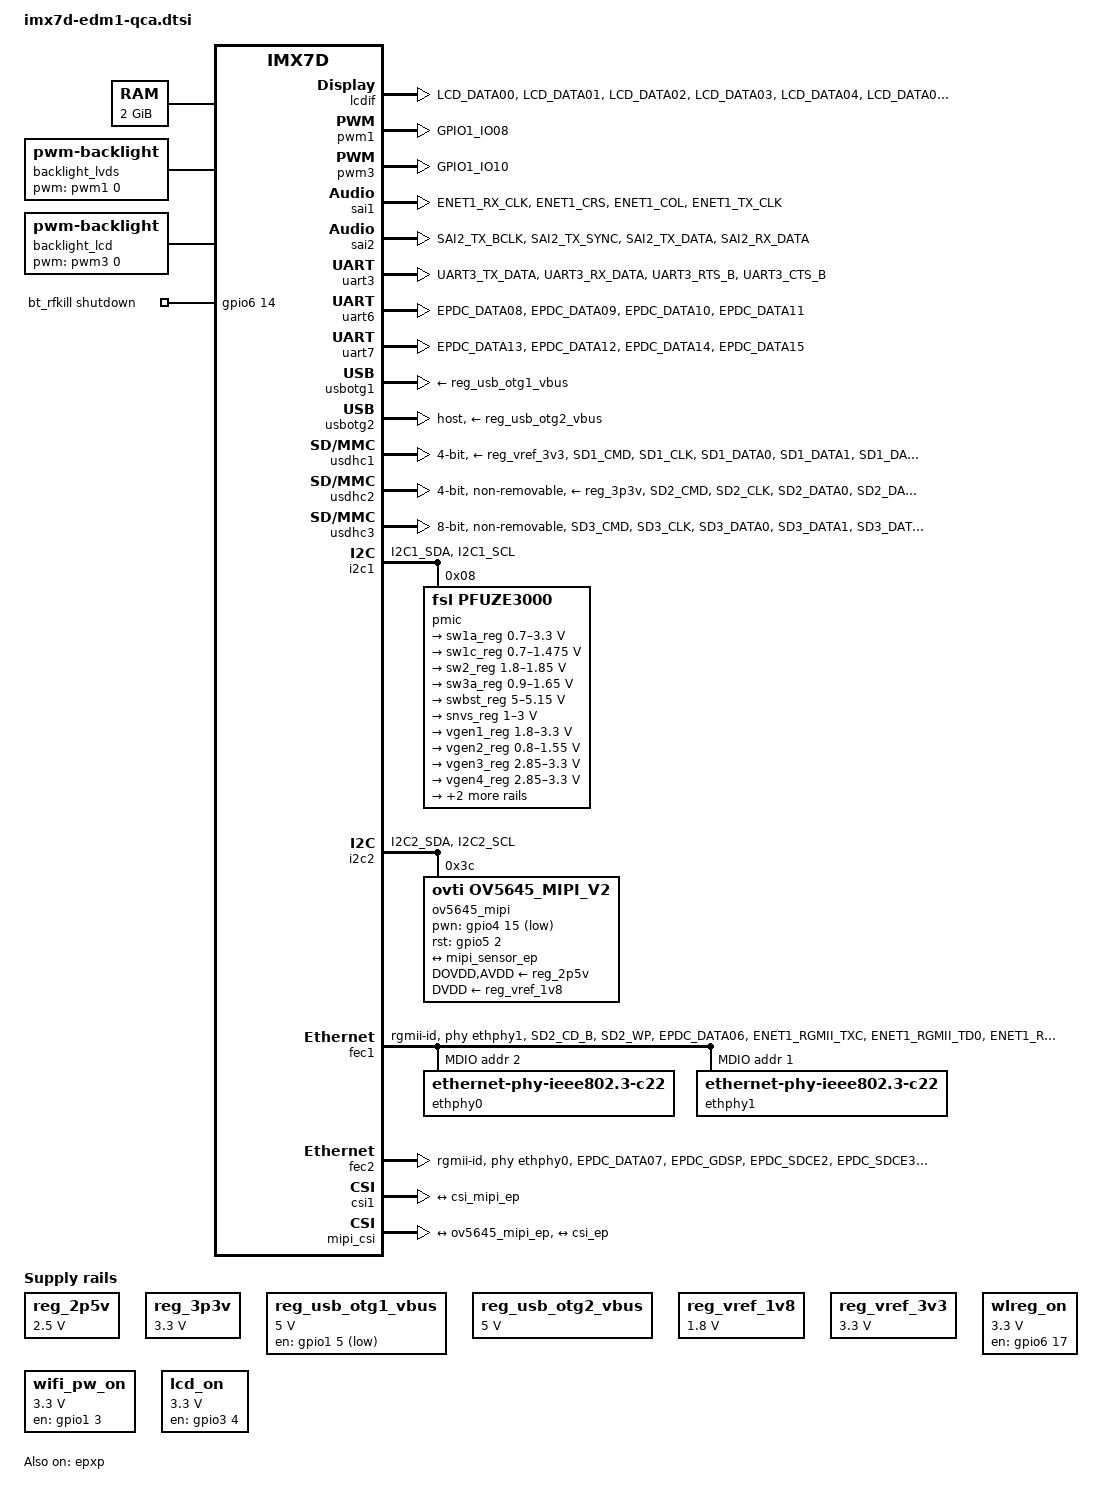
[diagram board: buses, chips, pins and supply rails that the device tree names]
/*
 * Copyright 2018 TechNexion Ltd.
 *
 * Author: Tapani Utriainen <tapani@technexion.com>
 *         Richard Hu <richard.hu@technexion.com>
 *         Ray Chang <ray.chang@technexion.com>
 *
 * This program is free software; you can redistribute it and/or modify
 * it under the terms of the GNU General Public License version 2 as
 * published by the Free Software Foundation.
 *
 */

#include <dt-bindings/input/input.h>
#include <dt-bindings/gpio/gpio.h>

/* External GPIO */
#define EDM_EXT_GPIO_P255 gpio2 30
#define EDM_EXT_GPIO_P256 gpio2 1
#define EDM_EXT_GPIO_P257 gpio2 2
#define EDM_EXT_GPIO_P258 gpio2 3
#define EDM_EXT_GPIO_P259 gpio2 4
#define EDM_EXT_GPIO_P260 gpio2 5
#define EDM_EXT_GPIO_P261 gpio4 0
#define EDM_EXT_GPIO_P262 gpio4 1
#define EDM_EXT_GPIO_P263 gpio1 11
#define EDM_EXT_GPIO_P264 gpio2 0

/* SAI */
#define EDM_AUDA_I2S_CHANNEL sai1
#define EDM_AUDA_CLK_SRC clks IMX7D_AUDIO_MCLK_ROOT_CLK

/* Bus definitions */
#define EDM_I2CA i2c1
#define EDM_I2CB i2c2
#define EDM_I2CC i2c3

#define EDM_SPIA ecspi2
#define EDM_SPIB ecspi1

#define EDM_CANA flexcan1
#define EDM_CANB flexcan2

#define EDM_PCIE pcie

#define EDM_GNOME_GPIO_DEFS()							\
&gpio1 {									\
	gpio-line-names =							\
		"", "", "", "", "", "", "", "",					\
		"", "", "", "GPIO_P263", "", "", "", "",			\
		"", "", "", "", "", "", "", "",					\
		"", "", "", "", "", "", "", "";					\
										\
	pinctrl-0 = <&pinctrl_gpio1>;						\
};										\
										\
&gpio2 {									\
	gpio-line-names =							\
		"GPIO_P264", "GPIO_P256", "", "", "", "GPIO_P260", "", "",	\
		"", "", "", "", "", "", "", "",					\
		"", "", "", "", "", "", "", "",					\
		"", "", "", "", "", "", "GPIO_P255", "";			\
										\
	pinctrl-0 = <&pinctrl_gpio2>;						\
};										\
										\
&gpio4 {									\
	gpio-line-names =							\
		"", "GPIO_P262", "", "", "", "", "", "",			\
		"", "", "", "", "", "", "", "",					\
		"", "", "", "", "", "", "", "",					\
		"", "", "", "", "", "", "", "";					\
										\
	pinctrl-0 = <&pinctrl_gpio4>;						\
}


/ {
	aliases {
		mxcfb0 = &mxcfb1;
	};

	memory {
		reg = <0x80000000 0x80000000>;
	};

	backlight_lvds {
		compatible = "pwm-backlight";
		pinctrl-names = "default";
		pwms = <&pwm1 0 50000 0>;
		brightness-levels = <0 36 72 108 144 180 216 255>;
		default-brightness-level = <6>;
		status = "okay";
	};

	backlight_lcd {
		compatible = "pwm-backlight";
		pwms = <&pwm3 0 50000 0>;
		brightness-levels = <0 36 72 108 144 180 216 255>;
		default-brightness-level = <6>;
		status = "okay";
	};

	pxp_v4l2_out {
		compatible = "fsl,imx7d-pxp-v4l2", "fsl,imx6sx-pxp-v4l2", "fsl,imx6sl-pxp-v4l2";
		status = "okay";
	};

	bt_rfkill {
		compatible = "net,rfkill-gpio";
		pinctrl-names = "default";
		pinctrl-0 = <&pinctrl_bt_ctrl &pinctrl_bt_ctrl_2>;
		name = "bt_rfkill";
		type = "bluetooth";
		shutdown-gpios = <&gpio6 14 GPIO_ACTIVE_HIGH>; /* BT_REG_ON: BT enable */
	};

	regulators {
		compatible = "simple-bus";
		#address-cells = <1>;
		#size-cells = <0>;

		reg_2p5v: 2p5v {
			compatible = "regulator-fixed";
			regulator-name = "2P5V";
			regulator-min-microvolt = <2500000>;
			regulator-max-microvolt = <2500000>;
			regulator-always-on;
		};

		reg_3p3v: 3p3v {
			compatible = "regulator-fixed";
			regulator-name = "3P3V";
			regulator-min-microvolt = <3300000>;
			regulator-max-microvolt = <3300000>;
			regulator-always-on;
		};

		reg_usb_otg1_vbus: regulator@0 {
			compatible = "regulator-fixed";
			regulator-name = "usb_otg1_vbus";
			regulator-min-microvolt = <5000000>;
			regulator-max-microvolt = <5000000>;
			gpio = <&gpio1 5 GPIO_ACTIVE_LOW>;
			enable-active-low;
		};

		reg_usb_otg2_vbus: regulator@1 {
			compatible = "regulator-fixed";
			reg = <1>;
			regulator-name = "usb_otg2_vbus";
			regulator-min-microvolt = <5000000>;
			regulator-max-microvolt = <5000000>;
		};

		reg_vref_1v8: regulator@5 {
			compatible = "regulator-fixed";
			reg = <5>;
			regulator-name = "vref-1v8";
			regulator-min-microvolt = <1800000>;
			regulator-max-microvolt = <1800000>;
		};

		reg_vref_3v3: regulator@6 {
			compatible = "regulator-fixed";
			regulator-name = "vref-3v3";
			regulator-min-microvolt = <3300000>;
			regulator-max-microvolt = <3300000>;
		};

		wlreg_on: wlreg_on {
			compatible = "regulator-fixed";
			regulator-min-microvolt = <3300000>;
			regulator-max-microvolt = <3300000>;
			regulator-name = "wlreg_on";
			pinctrl-names = "default";
			pinctrl-0 = <&pinctrl_wifi_ctrl>;
			gpio = <&gpio6 17 GPIO_ACTIVE_HIGH>;
			enable-active-high;
			regulator-always-on;
		};

		wifi_pw_on: wifi_pw_on {
			compatible = "regulator-fixed";
			regulator-min-microvolt = <3300000>;
			regulator-max-microvolt = <3300000>;
			regulator-name = "wifi_pw_on";
			pinctrl-names = "default";
			pinctrl-0 = <&pinctrl_wifi_ctrl_2>;
			gpio = <&gpio1 3 GPIO_ACTIVE_HIGH>;
			enable-active-high;
			regulator-always-on;
		};

		lcd_on: lcd_on {
			compatible = "regulator-fixed";
			regulator-name = "LCD_VDD";
			reg = <0>;
			regulator-min-microvolt = <3300000>;
			regulator-max-microvolt = <3300000>;
			gpio = <&gpio3 4 GPIO_ACTIVE_HIGH>;
			enable-active-high;
			regulator-boot-on;
		};
	};

	sound {
		compatible = "fsl,edm1-imx7-sgtl5000",
				"fsl,imx-audio-sgtl5000";
		fsl,no-audmux;
	};

	mxcfb1: fb@0 {
		compatible = "fsl,mxc_sdc_fb";
		disp_dev = "lcdif";
		interface_pix_fmt = "RGB24";
		default_bpp = <32>;
		int_clk = <0>;
		late_init = <0>;
		status = "okay";
	};
};

&iomuxc {
	edm1-imx7d {
		pinctrl_gpio1: gpio1grp {
			fsl,pins = <
				MX7D_PAD_GPIO1_IO11__GPIO1_IO11		0x14 /* GPIO_P263, ads7846 touch irq */
			>;
		};

		pinctrl_gpio2: gpio2grp {
			fsl,pins = <
				MX7D_PAD_EPDC_PWR_COM__GPIO2_IO30	0x15 /* GPIO_P255 */
				MX7D_PAD_EPDC_DATA01__GPIO2_IO1		0x15 /* GPIO_P256 */
				MX7D_PAD_EPDC_DATA02__GPIO2_IO2		0x15 /* GPIO_P257 */
				MX7D_PAD_EPDC_DATA03__GPIO2_IO3		0x15 /* GPIO_P258 */
				MX7D_PAD_EPDC_DATA04__GPIO2_IO4		0x15 /* GPIO_P259 */
				MX7D_PAD_EPDC_DATA05__GPIO2_IO5		0x15 /* GPIO_P260 */
				MX7D_PAD_EPDC_DATA00__GPIO2_IO0		0x14 /* GPIO_P264, ft5606 touch reset */
			>;
		};

		pinctrl_gpio4: gpio4grp {
			fsl,pins = <
				MX7D_PAD_UART1_TX_DATA__GPIO4_IO1	0x15 /* GPIO_P262 */
				MX7D_PAD_UART1_RX_DATA__GPIO4_IO0	0x14 /* GPIO_P261, ft5606 touch irq */
			>;
		};

		pinctrl_ecspi1: ecspi1grp {
			fsl,pins = <
				MX7D_PAD_ECSPI1_MISO__ECSPI1_MISO	0x2
				MX7D_PAD_ECSPI1_MOSI__ECSPI1_MOSI	0x2
				MX7D_PAD_ECSPI1_SCLK__ECSPI1_SCLK	0x2
			>;
		};

		pinctrl_ecspi1_cs: ecspi1_cs_grp {
			fsl,pins = <
				MX7D_PAD_ECSPI1_SS0__GPIO4_IO19		0x15
			>;
		};

		pinctrl_ecspi2: ecspi2grp {
			fsl,pins = <
				MX7D_PAD_ECSPI2_MISO__ECSPI2_MISO	0x2
				MX7D_PAD_ECSPI2_MOSI__ECSPI2_MOSI	0x2
				MX7D_PAD_ECSPI2_SCLK__ECSPI2_SCLK	0x2
			>;
		};

		pinctrl_ecspi2_cs: ecspi2_cs_grp {
			fsl,pins = <
				MX7D_PAD_ECSPI2_SS0__GPIO4_IO23		0x15
			>;
		};

		pinctrl_enet1: enet1grp {
			fsl,pins = <
				MX7D_PAD_SD2_CD_B__ENET1_MDIO			0x3
				MX7D_PAD_SD2_WP__ENET1_MDC			0x3
				MX7D_PAD_EPDC_DATA06__GPIO2_IO6			0x3  /* MDIO interrupt*/

				MX7D_PAD_ENET1_RGMII_TXC__ENET1_RGMII_TXC	0x1
				MX7D_PAD_ENET1_RGMII_TD0__ENET1_RGMII_TD0	0x1
				MX7D_PAD_ENET1_RGMII_TD1__ENET1_RGMII_TD1	0x1
				MX7D_PAD_ENET1_RGMII_TD2__ENET1_RGMII_TD2	0x1
				MX7D_PAD_ENET1_RGMII_TD3__ENET1_RGMII_TD3	0x1
				MX7D_PAD_ENET1_RGMII_TX_CTL__ENET1_RGMII_TX_CTL	0x1
				MX7D_PAD_ENET1_RGMII_RXC__ENET1_RGMII_RXC	0x1
				MX7D_PAD_ENET1_RGMII_RD0__ENET1_RGMII_RD0	0x1
				MX7D_PAD_ENET1_RGMII_RD1__ENET1_RGMII_RD1	0x1
				MX7D_PAD_ENET1_RGMII_RD2__ENET1_RGMII_RD2	0x1
				MX7D_PAD_ENET1_RGMII_RD3__ENET1_RGMII_RD3	0x1
				MX7D_PAD_ENET1_RGMII_RX_CTL__ENET1_RGMII_RX_CTL	0x1
				MX7D_PAD_SD2_RESET_B__GPIO5_IO11		0x1  /* Ethernet reset */
			>;
		};

		pinctrl_enet2: enet2grp {
			fsl,pins = <
				MX7D_PAD_EPDC_DATA07__GPIO2_IO7		0x3  /* MDIO interrupt*/

				MX7D_PAD_EPDC_GDSP__ENET2_RGMII_TXC	0x1
				MX7D_PAD_EPDC_SDCE2__ENET2_RGMII_TD0	0x1
				MX7D_PAD_EPDC_SDCE3__ENET2_RGMII_TD1	0x1
				MX7D_PAD_EPDC_GDCLK__ENET2_RGMII_TD2	0x1
				MX7D_PAD_EPDC_GDOE__ENET2_RGMII_TD3	0x1
				MX7D_PAD_EPDC_GDRL__ENET2_RGMII_TX_CTL	0x1
				MX7D_PAD_EPDC_SDCE1__ENET2_RGMII_RXC	0x1
				MX7D_PAD_EPDC_SDCLK__ENET2_RGMII_RD0	0x1
				MX7D_PAD_EPDC_SDLE__ENET2_RGMII_RD1	0x1
				MX7D_PAD_EPDC_SDOE__ENET2_RGMII_RD2	0x1
				MX7D_PAD_EPDC_SDSHR__ENET2_RGMII_RD3	0x1
				MX7D_PAD_EPDC_SDCE0__ENET2_RGMII_RX_CTL	0x1
			>;
		};

		pinctrl_i2c1: i2c1grp {
			fsl,pins = <
				MX7D_PAD_I2C1_SDA__I2C1_SDA	0x4000007f
				MX7D_PAD_I2C1_SCL__I2C1_SCL	0x4000007f
			>;
		};

		pinctrl_i2c2: i2c2grp {
			fsl,pins = <
				MX7D_PAD_I2C2_SDA__I2C2_SDA	0x4000007f
				MX7D_PAD_I2C2_SCL__I2C2_SCL	0x4000007f
			>;
		};

		pinctrl_i2c3: i2c3grp {
			fsl,pins = <
				MX7D_PAD_I2C3_SDA__I2C3_SDA	0x4000007f
				MX7D_PAD_I2C3_SCL__I2C3_SCL	0x4000007f
			>;
		};

		pinctrl_lcdif_dat: lcdifdatgrp {
			fsl,pins = <
				MX7D_PAD_LCD_DATA00__LCD_DATA0	0x79
				MX7D_PAD_LCD_DATA01__LCD_DATA1	0x79
				MX7D_PAD_LCD_DATA02__LCD_DATA2	0x79
				MX7D_PAD_LCD_DATA03__LCD_DATA3	0x79
				MX7D_PAD_LCD_DATA04__LCD_DATA4	0x79
				MX7D_PAD_LCD_DATA05__LCD_DATA5	0x79
				MX7D_PAD_LCD_DATA06__LCD_DATA6	0x79
				MX7D_PAD_LCD_DATA07__LCD_DATA7	0x79
				MX7D_PAD_LCD_DATA08__LCD_DATA8	0x79
				MX7D_PAD_LCD_DATA09__LCD_DATA9	0x79
				MX7D_PAD_LCD_DATA10__LCD_DATA10	0x79
				MX7D_PAD_LCD_DATA11__LCD_DATA11	0x79
				MX7D_PAD_LCD_DATA12__LCD_DATA12	0x79
				MX7D_PAD_LCD_DATA13__LCD_DATA13	0x79
				MX7D_PAD_LCD_DATA14__LCD_DATA14	0x79
				MX7D_PAD_LCD_DATA15__LCD_DATA15	0x79
				MX7D_PAD_LCD_DATA16__LCD_DATA16	0x79
				MX7D_PAD_LCD_DATA17__LCD_DATA17	0x79
				MX7D_PAD_LCD_DATA18__LCD_DATA18	0x79
				MX7D_PAD_LCD_DATA19__LCD_DATA19	0x79
				MX7D_PAD_LCD_DATA20__LCD_DATA20	0x79
				MX7D_PAD_LCD_DATA21__LCD_DATA21	0x79
				MX7D_PAD_LCD_DATA22__LCD_DATA22	0x79
				MX7D_PAD_LCD_DATA23__LCD_DATA23	0x79
			>;
		};

		pinctrl_lcdif_ctrl: lcdifctrlgrp {
			fsl,pins = <
				MX7D_PAD_LCD_CLK__LCD_CLK	0x79
				MX7D_PAD_LCD_ENABLE__LCD_ENABLE	0x78
				MX7D_PAD_LCD_VSYNC__LCD_VSYNC	0x78
				MX7D_PAD_LCD_HSYNC__LCD_HSYNC	0x78
				MX7D_PAD_LCD_RESET__GPIO3_IO4	0x14
			>;
		};

		pinctrl_sai1: sai1grp {
			fsl,pins = <
				MX7D_PAD_ENET1_RX_CLK__SAI1_TX_BCLK	0x1f
				MX7D_PAD_ENET1_CRS__SAI1_TX_SYNC	0x1f
				MX7D_PAD_ENET1_COL__SAI1_TX_DATA0	0x30
				MX7D_PAD_ENET1_TX_CLK__SAI1_RX_DATA0	0x1f
			>;
		};

		pinctrl_sai2: sai2grp {
			fsl,pins = <
				MX7D_PAD_SAI2_TX_BCLK__SAI2_TX_BCLK	0x1f
				MX7D_PAD_SAI2_TX_SYNC__SAI2_TX_SYNC	0x1f
				MX7D_PAD_SAI2_TX_DATA__SAI2_TX_DATA0	0x30
				MX7D_PAD_SAI2_RX_DATA__SAI2_RX_DATA0	0x1f
			>;
		};

		pinctrl_uart2: uart2grp {
			fsl,pins = <
				MX7D_PAD_UART2_TX_DATA__UART2_DCE_TX	0x79
				MX7D_PAD_UART2_RX_DATA__UART2_DCE_RX	0x79
			>;
		};

		pinctrl_uart3: uart3grp {
			fsl,pins = <
				MX7D_PAD_UART3_TX_DATA__UART3_DCE_TX	0x79
				MX7D_PAD_UART3_RX_DATA__UART3_DCE_RX	0x79
				MX7D_PAD_UART3_RTS_B__UART3_DCE_RTS	0x79
				MX7D_PAD_UART3_CTS_B__UART3_DCE_CTS	0x79
			>;
		};

		pinctrl_uart6: uart6grp {
			fsl,pins = <
				MX7D_PAD_EPDC_DATA08__UART6_DCE_RX	0x79
				MX7D_PAD_EPDC_DATA09__UART6_DCE_TX	0x79
				MX7D_PAD_EPDC_DATA10__UART6_DCE_RTS	0x79
				MX7D_PAD_EPDC_DATA11__UART6_DCE_CTS	0x79
			>;
		};

		pinctrl_uart7: uart7grp {
			fsl,pins = <
				MX7D_PAD_EPDC_DATA13__UART7_DCE_TX	0x79
				MX7D_PAD_EPDC_DATA12__UART7_DCE_RX	0x79
				MX7D_PAD_EPDC_DATA14__UART7_DCE_RTS	0x79
				MX7D_PAD_EPDC_DATA15__UART7_DCE_CTS	0x79
			>;
		};

		pinctrl_can_1: can-1 {
			fsl,pins = <
				MX7D_PAD_GPIO1_IO12__FLEXCAN1_RX	0x59
				MX7D_PAD_GPIO1_IO13__FLEXCAN1_TX	0x59
			>;
		};

		pinctrl_can_2: can-2 {
			fsl,pins = <
				MX7D_PAD_GPIO1_IO14__FLEXCAN2_RX	0x59
				MX7D_PAD_GPIO1_IO15__FLEXCAN2_TX	0x59
			>;
		};

		pinctrl_usdhc1: usdhc1grp {
			fsl,pins = <
				MX7D_PAD_SD1_CMD__SD1_CMD		0x7B
				MX7D_PAD_SD1_CLK__SD1_CLK		0x1B
				MX7D_PAD_SD1_DATA0__SD1_DATA0		0x7B
				MX7D_PAD_SD1_DATA1__SD1_DATA1		0x7B
				MX7D_PAD_SD1_DATA2__SD1_DATA2		0x7B
				MX7D_PAD_SD1_DATA3__SD1_DATA3		0x7B
				MX7D_PAD_SD1_CD_B__GPIO5_IO0		0x7B /* baseboard sd cd pin */
			>;
		};

		pinctrl_usdhc1_100mhz: usdhc1grp_100mhz {
			fsl,pins = <
				MX7D_PAD_SD1_CMD__SD1_CMD		0x5a
				MX7D_PAD_SD1_CLK__SD1_CLK		0x1a
				MX7D_PAD_SD1_DATA0__SD1_DATA0		0x5a
				MX7D_PAD_SD1_DATA1__SD1_DATA1		0x5a
				MX7D_PAD_SD1_DATA2__SD1_DATA2		0x5a
				MX7D_PAD_SD1_DATA3__SD1_DATA3		0x5a
				MX7D_PAD_SD1_CD_B__GPIO5_IO0		0x15
			>;
		};

		pinctrl_usdhc1_200mhz: usdhc1grp_200mhz {
			fsl,pins = <
				MX7D_PAD_SD1_CMD__SD1_CMD		0x5b
				MX7D_PAD_SD1_CLK__SD1_CLK		0x1b
				MX7D_PAD_SD1_DATA0__SD1_DATA0		0x5b
				MX7D_PAD_SD1_DATA1__SD1_DATA1		0x5b
				MX7D_PAD_SD1_DATA2__SD1_DATA2		0x5b
				MX7D_PAD_SD1_DATA3__SD1_DATA3		0x5b
				MX7D_PAD_SD1_CD_B__GPIO5_IO0		0x15
			>;
		};

		pinctrl_usdhc2: usdhc2grp {
			fsl,pins = <
				MX7D_PAD_SD2_CMD__SD2_CMD	0x59
				MX7D_PAD_SD2_CLK__SD2_CLK	0x19
				MX7D_PAD_SD2_DATA0__SD2_DATA0	0x59
				MX7D_PAD_SD2_DATA1__SD2_DATA1	0x59
				MX7D_PAD_SD2_DATA2__SD2_DATA2	0x59
				MX7D_PAD_SD2_DATA3__SD2_DATA3	0x59
			>;
		};

		pinctrl_usdhc2_100mhz: usdhc2grp_100mhz {
			fsl,pins = <
				MX7D_PAD_SD2_CMD__SD2_CMD	0x5a
				MX7D_PAD_SD2_CLK__SD2_CLK	0x1a
				MX7D_PAD_SD2_DATA0__SD2_DATA0	0x5a
				MX7D_PAD_SD2_DATA1__SD2_DATA1	0x5a
				MX7D_PAD_SD2_DATA2__SD2_DATA2	0x5a
				MX7D_PAD_SD2_DATA3__SD2_DATA3	0x5a
			>;
		};

		pinctrl_usdhc2_200mhz: usdhc2grp_200mhz {
			fsl,pins = <
				MX7D_PAD_SD2_CMD__SD2_CMD	0x5b
				MX7D_PAD_SD2_CLK__SD2_CLK	0x1b
				MX7D_PAD_SD2_DATA0__SD2_DATA0	0x5b
				MX7D_PAD_SD2_DATA1__SD2_DATA1	0x5b
				MX7D_PAD_SD2_DATA2__SD2_DATA2	0x5b
				MX7D_PAD_SD2_DATA3__SD2_DATA3	0x5b
			>;
		};

		pinctrl_usdhc3: usdhc3grp {
			fsl,pins = <
				MX7D_PAD_SD3_CMD__SD3_CMD	0x59
				MX7D_PAD_SD3_CLK__SD3_CLK	0x19
				MX7D_PAD_SD3_DATA0__SD3_DATA0	0x59
				MX7D_PAD_SD3_DATA1__SD3_DATA1	0x59
				MX7D_PAD_SD3_DATA2__SD3_DATA2	0x59
				MX7D_PAD_SD3_DATA3__SD3_DATA3	0x59
				MX7D_PAD_SD3_DATA4__SD3_DATA4	0x59
				MX7D_PAD_SD3_DATA5__SD3_DATA5	0x59
				MX7D_PAD_SD3_DATA6__SD3_DATA6	0x59
				MX7D_PAD_SD3_DATA7__SD3_DATA7	0x59
			>;
		};

		pinctrl_pwm1: pwm1 {
			fsl,pins = <
				MX7D_PAD_GPIO1_IO08__PWM1_OUT	0x110b0
			>;
		};

		pinctrl_pwm3: pwm3 {
			fsl,pins = <
				MX7D_PAD_GPIO1_IO10__PWM3_OUT	0x110b0
			>;
		};

		pinctrl_wifi_ctrl: wifi_ctrlgrp {
			fsl,pins = <
				MX7D_PAD_SAI1_RX_BCLK__GPIO6_IO17	0x59 /* WL_REG_ON, wifi-reg-on */
				MX7D_PAD_SAI1_RX_DATA__GPIO6_IO12	0x59 /* WL_HOST_WAKE, wifi-host-wake */
				MX7D_PAD_SAI1_RX_SYNC__GPIO6_IO16	0x59 /* SDIO_REG_ON */
			>;
		};

		pinctrl_bt_ctrl: bt_ctrlgrp {
			fsl,pins = <
				MX7D_PAD_SAI1_TX_SYNC__GPIO6_IO14	0x55 /* BT_REG_ON, bluetooth-reg-on */

			>;
		};

		pinctrl_pcie: pcie_ctrlgrp {
			fsl,pins = <
				MX7D_PAD_GPIO1_IO09__GPIO1_IO9		0x15 /* PCIE_RST_N,  pcie reset */
			>;
		};

		pinctrl_mipi_csi_1: mipicsigrp-1 {
			fsl,pins = <
				MX7D_PAD_I2C4_SDA__GPIO4_IO15		0x15 /* CAMERA_ON, mipi csi powerdown */
				MX7D_PAD_SD1_RESET_B__GPIO5_IO2		0x15 /* CAMERA_RESET, mipi csi reset */
			>;
		};
	};
};

&iomuxc_lpsr {
	pinctrl-names = "default";
	pinctrl-0 = <&pinctrl_hog_2 &pinctrl_usbotg1_pwr>;

	imx7d-edm1-miscpins {
		pinctrl_hog_2: hoggrp-2 {
			fsl,pins = <
				MX7D_PAD_LPSR_GPIO1_IO07__GPIO1_IO7	0x59 /* pmic sd_vel pin*/
				MX7D_PAD_LPSR_GPIO1_IO04__GPIO1_IO4	0x59 /* USB_OTG1_OC */
			>;
		};

		pinctrl_wifi_ctrl_2: wifi_ctrlgrp-2 {
			fsl,pins = <
				MX7D_PAD_LPSR_GPIO1_IO03__GPIO1_IO3	0x59 /* WIFI_PW_ON, wifi-power */
			>;
		};

		pinctrl_bt_ctrl_2: bt_ctrlgrp-2 {
			fsl,pins = <
				MX7D_PAD_LPSR_GPIO1_IO06__GPIO1_IO6	0x55 /* BT_HOST_WAKE, bluetooth-wake */
			>;
		};

		pinctrl_wdog: wdoggrp {
			fsl,pins = <
				MX7D_PAD_LPSR_GPIO1_IO00__WDOG1_WDOG_B		0x74
			>;
		};

		pinctrl_mipi_csi: mipicsigrp-1 {
			fsl,pins = <
				MX7D_PAD_LPSR_GPIO1_IO02__CCM_CLKO1	0x7d /* mipi csi main clock */
			>;
		};

		pinctrl_usbotg1_pwr: usbotg_pwr {
			fsl,pins = <
				MX7D_PAD_LPSR_GPIO1_IO05__GPIO1_IO5	0x14
			>;
		};
	};
};

&lcdif {
	pinctrl-names = "default";
	pinctrl-0 = <&pinctrl_lcdif_dat
		     &pinctrl_lcdif_ctrl>;
	lcd-supply = <&lcd_on>;
	display = <&display0>;
	status = "okay";

	display0: display {
		bits-per-pixel = <32>;
		bus-width = <24>;
		display-timings {
			native-mode = <&timing0>;
			timing0: timing0 {
				clock-frequency = <51000000>;
				hactive = <1024>;
				vactive = <600>;
				hfront-porch = <120>;
				hback-porch = <90>;
				hsync-len = <100>;
				vback-porch = <1>;
				vfront-porch = <1>;
				vsync-len = <33>;
				hsync-active = <1>;
				vsync-active = <0>;
				de-active = <1>;
				pixelclk-active = <1>;
			};
		};
	};
};

&pwm1 {/* Backlight_LVDS */
	pinctrl-names = "default";
	pinctrl-0 = <&pinctrl_pwm1>;
	status = "okay";
};

&pwm3 {/* Backlight_LCD */
	pinctrl-names = "default";
	pinctrl-0 = <&pinctrl_pwm3>;
	status = "okay";
};

&sai1 {
	pinctrl-names = "default";
	pinctrl-0 = <&pinctrl_sai1>;
	assigned-clocks = <&clks IMX7D_SAI1_ROOT_SRC>,
			  <&clks IMX7D_SAI1_ROOT_CLK>;
	assigned-clock-parents = <&clks IMX7D_PLL_AUDIO_POST_DIV>;
	assigned-clock-rates = <0>, <24576000>;
	status = "okay";
};

&sai2 {
	pinctrl-names = "default";
	pinctrl-0 = <&pinctrl_sai2>;
	assigned-clocks = <&clks IMX7D_SAI2_ROOT_SRC>,
			  <&clks IMX7D_SAI2_ROOT_CLK>;
	assigned-clock-parents = <&clks IMX7D_PLL_AUDIO_POST_DIV>;
	assigned-clock-rates = <0>, <24576000>;
	status = "okay";
};

&sdma {
	status = "okay";
};

&uart2 { /* M4 Debug Console */
	pinctrl-names = "default";
	pinctrl-0 = <&pinctrl_uart2>;
	assigned-clocks = <&clks IMX7D_UART2_ROOT_SRC>;
	assigned-clock-parents = <&clks IMX7D_OSC_24M_CLK>;
	status = "disabled";
};

&uart3 { /* Debug Console */
	pinctrl-names = "default";
	pinctrl-0 = <&pinctrl_uart3>;
	assigned-clocks = <&clks IMX7D_UART3_ROOT_SRC>;
	assigned-clock-parents = <&clks IMX7D_PLL_SYS_MAIN_240M_CLK>;
	fsl,uart-has-rtscts;
	status = "okay";
};

&uart6 {
	pinctrl-names = "default";
	pinctrl-0 = <&pinctrl_uart6>;
	assigned-clocks = <&clks IMX7D_UART6_ROOT_SRC>;
	assigned-clock-parents = <&clks IMX7D_PLL_SYS_MAIN_240M_CLK>;
	fsl,uart-has-rtscts;
	status = "okay";
};

&uart7 { /* Bluetooth */
	pinctrl-names = "default";
	pinctrl-0 = <&pinctrl_uart7>;
	assigned-clocks = <&clks IMX7D_UART7_ROOT_SRC>;
	assigned-clock-parents = <&clks IMX7D_PLL_SYS_MAIN_240M_CLK>;
	fsl,uart-has-rtscts;
	status = "okay";
};

&usbotg1 {
	vbus-supply = <&reg_usb_otg1_vbus>;
	srp-disable;
	hnp-disable;
	adp-disable;
	status = "okay";
};

&usbotg2 {
	vbus-supply = <&reg_usb_otg2_vbus>;
	dr_mode = "host";
	status = "okay";
};

&usdhc1 { /* baseboard SD card */
	pinctrl-names = "default", "state_100mhz", "state_200mhz";
	pinctrl-0 = <&pinctrl_usdhc1>;
	pinctrl-1 = <&pinctrl_usdhc1_100mhz>;
	pinctrl-2 = <&pinctrl_usdhc1_200mhz>;
	cd-gpios = <&gpio5 0 GPIO_ACTIVE_LOW>;
	bus-width = <4>;
	tuning-step = <2>;
	vmmc-supply = <&reg_vref_3v3>;
	enable-sdio-wakeup;
	no-1-8-v;
	keep-power-in-suspend;
	status = "okay";
};

&usdhc2 { /* Wifi Module */
	pinctrl-names = "default", "state_100mhz", "state_200mhz";
	pinctrl-0 = <&pinctrl_usdhc2>;
	pinctrl-1 = <&pinctrl_usdhc2_100mhz>;
	pinctrl-2 = <&pinctrl_usdhc2_200mhz>;
	bus-width = <4>;
	vmmc-supply = <&reg_3p3v>;
	keep-power-in-suspend;
	non-removable;
	pm-ignore-notify;
	no-1-8-v;
	wifi-host;
	status = "okay";
};

&usdhc3 { /* Module eMMC */
	pinctrl-names = "default";
	pinctrl-0 = <&pinctrl_usdhc3>;
	assigned-clocks = <&clks IMX7D_USDHC3_ROOT_CLK>;
	assigned-clock-rates = <400000000>;
	non-removable;
	bus-width = <8>;
	no-1-8-v;
	status = "okay";
};

&wdog1 {
	pinctrl-names = "default";
	pinctrl-0 = <&pinctrl_wdog>;
	fsl,ext-reset-output;
};

&i2c1 {
	pinctrl-names = "default";
	pinctrl-0 = <&pinctrl_i2c1>;
	status = "okay";

	pmic: pfuze3000@08 {
		compatible = "fsl,pfuze3000";
		reg = <0x08>;
		fsl,lpsr-mode;

		regulators {
			sw1a_reg: sw1a {
				regulator-min-microvolt = <700000>;
				regulator-max-microvolt = <3300000>;
				regulator-boot-on;
				regulator-always-on;
				regulator-ramp-delay = <6250>;
			};
			/* use sw1c_reg to align with pfuze100/pfuze200 */
			sw1c_reg: sw1b {
				regulator-min-microvolt = <700000>;
				regulator-max-microvolt = <1475000>;
				regulator-boot-on;
				regulator-always-on;
				regulator-ramp-delay = <6250>;
			};

			sw2_reg: sw2 {
				regulator-min-microvolt = <1800000>;
				regulator-max-microvolt = <1850000>;
				regulator-boot-on;
				regulator-always-on;
			};

			sw3a_reg: sw3 {
				regulator-min-microvolt = <900000>;
				regulator-max-microvolt = <1650000>;
				regulator-boot-on;
				regulator-always-on;
			};

			swbst_reg: swbst {
				regulator-min-microvolt = <5000000>;
				regulator-max-microvolt = <5150000>;
			};

			snvs_reg: vsnvs {
				regulator-min-microvolt = <1000000>;
				regulator-max-microvolt = <3000000>;
				regulator-boot-on;
				regulator-always-on;
			};

			vref_reg: vrefddr {
				regulator-boot-on;
				regulator-always-on;
			};

			vgen1_reg: vldo1 {
				regulator-min-microvolt = <1800000>;
				regulator-max-microvolt = <3300000>;
				regulator-always-on;
			};

			vgen2_reg: vldo2 {
				regulator-min-microvolt = <800000>;
				regulator-max-microvolt = <1550000>;
			};

			vgen3_reg: vccsd {
				regulator-min-microvolt = <2850000>;
				regulator-max-microvolt = <3300000>;
				regulator-always-on;
			};

			vgen4_reg: v33 {
				regulator-min-microvolt = <2850000>;
				regulator-max-microvolt = <3300000>;
				regulator-always-on;
			};

			vgen5_reg: vldo3 {
				regulator-min-microvolt = <1800000>;
				regulator-max-microvolt = <3300000>;
				regulator-always-on;
			};

			vgen6_reg: vldo4 {
				regulator-min-microvolt = <1800000>;
				regulator-max-microvolt = <3300000>;
			};
		};
	};
};

&i2c2 {
	pinctrl-names = "default";
	pinctrl-0 = <&pinctrl_i2c2>;
	status = "okay";

	ov5645_mipi: ov5645_mipi@3c {
		compatible = "ovti,ov5645_mipi_v2";
		pinctrl-names = "default";
		pinctrl-0 = <&pinctrl_mipi_csi &pinctrl_mipi_csi_1>;
		reg = <0x3c>;
		clocks = <&clks IMX7D_CLKO1_ROOT_CG>;
		clock-names = "csi_mclk";
		csi_id = <0>;
		pwn-gpios = <&gpio4 15 GPIO_ACTIVE_LOW>;
		rst-gpios = <&gpio5 2 GPIO_ACTIVE_HIGH>;
		DOVDD-supply = <&reg_2p5v>;
		AVDD-supply = <&reg_2p5v>;
		DVDD-supply = <&reg_vref_1v8>;
		mclk = <24000000>;
		mclk_source = <0>;
		port {
			ov5645_mipi_ep: endpoint {
				remote-endpoint = <&mipi_sensor_ep>;
			};
		};
	};

};

&i2c3 {
	pinctrl-names = "default";
	pinctrl-0 = <&pinctrl_i2c3>;
	status = "disabled";
};

&ecspi1 {
	fsl,spi-num-chipselects = <0>;
	cs-gpios = <&gpio4 19 GPIO_ACTIVE_LOW>;
	pinctrl-names = "default";
	pinctrl-0 = <&pinctrl_ecspi1 &pinctrl_ecspi1_cs>;
	status = "disabled";
};

&ecspi2 {
	fsl,spi-num-chipselects = <1>;
	cs-gpios = <&gpio4 23 GPIO_ACTIVE_LOW>;
	pinctrl-names = "default";
	pinctrl-0 = <&pinctrl_ecspi2 &pinctrl_ecspi2_cs>;
	status = "disabled";
};

&flexcan1 {
	pinctrl-names = "default";
	pinctrl-0 = <&pinctrl_can_1>;
	status = "disabled";
};

&flexcan2 {
	pinctrl-names = "default";
	pinctrl-0 = <&pinctrl_can_2>;
	status = "disabled";
};

&cpu0 {
	arm-supply = <&sw1a_reg>;
};

&fec1 {
	pinctrl-names = "default";
	pinctrl-0 = <&pinctrl_enet1>;
	assigned-clocks = <&clks IMX7D_ENET1_TIME_ROOT_SRC>,
			  <&clks IMX7D_ENET1_TIME_ROOT_CLK>;
	assigned-clock-parents = <&clks IMX7D_PLL_ENET_MAIN_100M_CLK>;
	assigned-clock-rates = <0>, <100000000>;
	phy-mode = "rgmii-id";
	phy-handle = <&ethphy1>;
	fsl,magic-packet;
	status = "okay";

	mdio {
		#address-cells = <1>;
		#size-cells = <0>;

		ethphy0: ethernet-phy@0 {
			compatible = "ethernet-phy-ieee802.3-c22";
			reg = <2>;
			at803x,led-act-blind-workaround;
			at803x,eee-disabled;
		};

		ethphy1: ethernet-phy@1 {
			compatible = "ethernet-phy-ieee802.3-c22";
			reg = <1>;
			at803x,led-act-blind-workaround;
			at803x,eee-disabled;
		};
	};
};

&fec2 {
	pinctrl-names = "default";
	pinctrl-0 = <&pinctrl_enet2>;
	phy-reset-gpios = <&gpio5 11 GPIO_ACTIVE_HIGH>;
	assigned-clocks = <&clks IMX7D_ENET2_TIME_ROOT_SRC>,
			  <&clks IMX7D_ENET2_TIME_ROOT_CLK>;
	assigned-clock-parents = <&clks IMX7D_PLL_ENET_MAIN_100M_CLK>;
	assigned-clock-rates = <0>, <100000000>;
	phy-mode = "rgmii-id";
	phy-handle = <&ethphy0>;
	fsl,magic-packet;
	status = "okay";
};

&csi1 {
	csi-mux-mipi = <&gpr 0x14 4>;
	fsl,mipi-mode;
	status = "okay";

	port {
		csi_ep: endpoint {
			remote-endpoint = <&csi_mipi_ep>;
		};
	};
};

&mipi_csi {
	clock-frequency = <24000000>;
	status = "okay";
	port {
		mipi_sensor_ep: endpoint1 {
			remote-endpoint = <&ov5645_mipi_ep>;
			data-lanes = <2>;
			csis-hs-settle = <13>;
			csis-clk-settle = <2>;
		};

		csi_mipi_ep: endpoint2 {
			remote-endpoint = <&csi_ep>;
		};
	};
};

&epxp {
	status = "okay";
};

&pcie {
	pinctrl-names = "default";
	pinctrl-0 = <&pinctrl_pcie>;
	reset-gpio = <&gpio1 9 GPIO_ACTIVE_LOW>;
	status = "disabled";
};

